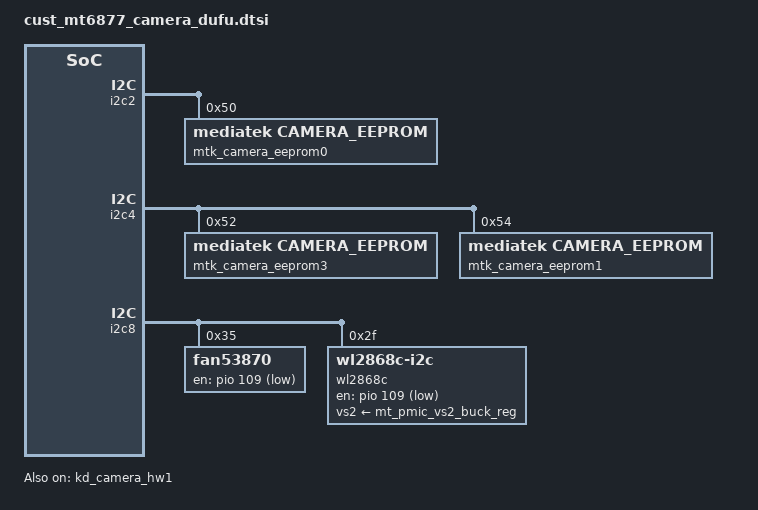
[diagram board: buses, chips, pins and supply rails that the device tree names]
/*
 * Copyright (c) 2019 MediaTek Inc.
 *
 * This program is free software; you can redistribute it and/or modify
 * it under the terms of the GNU General Public License version 2 as
 * published by the Free Software Foundation.
 *
 * This program is distributed in the hope that it will be useful,
 * but WITHOUT ANY WARRANTY; without even the implied warranty of
 * MERCHANTABILITY or FITNESS FOR A PARTICULAR PURPOSE.  See the
 * GNU General Public License for more details.
 */
/* CAMERA GPIO standardization */
&pio {
	camera_pins_cam0_rst_0: cam0@0 {
		pins_cmd_dat {
			pinmux = <PINMUX_GPIO157__FUNC_GPIO157>;
			slew-rate = <1>;
			output-low;
		};
	};
	camera_pins_cam0_rst_1: cam0@1 {
		pins_cmd_dat {
			pinmux = <PINMUX_GPIO157__FUNC_GPIO157>;
			slew-rate = <1>;
			output-high;
		};
	};

	camera_pins_cam1_rst_0: cam1@0 {
		pins_cmd_dat {
			pinmux = <PINMUX_GPIO155__FUNC_GPIO155>;
			slew-rate = <1>;
			output-low;
		};
	};
	camera_pins_cam1_rst_1: cam1@1 {
		pins_cmd_dat {
			pinmux = <PINMUX_GPIO155__FUNC_GPIO155>;
			slew-rate = <1>;
			output-high;
		};
	};

	camera_pins_cam2_rst_0: cam2@0 {
		pins_cmd_dat {
			pinmux = <PINMUX_GPIO159__FUNC_GPIO159>;
			slew-rate = <1>;
			output-low;
		};
	};
	camera_pins_cam2_rst_1: cam2@1 {
		pins_cmd_dat {
			pinmux = <PINMUX_GPIO159__FUNC_GPIO159>;
			slew-rate = <1>;
			output-high;
		};
	};

	camera_pins_cam3_rst_0: cam3@0 {
		pins_cmd_dat {
			pinmux = <PINMUX_GPIO161__FUNC_GPIO161>;
			slew-rate = <1>;
			output-low;
		};
	};
	camera_pins_cam3_rst_1: cam3@1 {
		pins_cmd_dat {
			pinmux = <PINMUX_GPIO161__FUNC_GPIO161>;
			slew-rate = <1>;
			output-high;
		};
	};

	/*camera_pins_cam0_vcama_0: cam0@vcam0 {
		pins_cmd_dat {
			pinmux = <PINMUX_GPIO154__FUNC_GPIO154>;
			slew-rate = <1>;
			output-low;
		};
	};
	camera_pins_cam0_vcama_1: cam0@vcam1 {
		pins_cmd_dat {
			pinmux = <PINMUX_GPIO154__FUNC_GPIO154>;
			slew-rate = <1>;
			output-high;
		};
	};*/

	camera_pins_cam0_vcama1_0: cam0@vcam0 {
		pins_cmd_dat {
			pinmux = <PINMUX_GPIO154__FUNC_GPIO154>;
			slew-rate = <1>;
			output-low;
		};
	};
	camera_pins_cam0_vcama1_1: cam0@vcam1 {
		pins_cmd_dat {
			pinmux = <PINMUX_GPIO154__FUNC_GPIO154>;
			slew-rate = <1>;
			output-high;
		};
	};
	
	camera_pins_cam0_mclk_off: camera_pins_cam0_mclk_off {
		pins_cmd_dat {
			pinmux = <PINMUX_GPIO150__FUNC_GPIO150>;
			drive-strength = <1>;
		};
	};
	camera_pins_cam0_mclk_2ma: camera_pins_cam0_mclk_2ma {
		pins_cmd_dat {
			pinmux = <PINMUX_GPIO150__FUNC_CMMCLK1>;
			drive-strength = <0>;
		};
	};
	camera_pins_cam0_mclk_4ma: camera_pins_cam0_mclk_4ma {
		pins_cmd_dat {
			pinmux = <PINMUX_GPIO150__FUNC_CMMCLK1>;
			drive-strength = <1>;
		};
	};
	camera_pins_cam0_mclk_6ma: camera_pins_cam0_mclk_6ma {
		pins_cmd_dat {
			pinmux = <PINMUX_GPIO150__FUNC_CMMCLK1>;
			drive-strength = <2>;
		};
	};
	camera_pins_cam0_mclk_8ma: camera_pins_cam0_mclk_8ma {
		pins_cmd_dat {
			pinmux = <PINMUX_GPIO150__FUNC_CMMCLK1>;
			drive-strength = <3>;
		};
	};
	camera_pins_cam1_mclk_off: camera_pins_cam1_mclk_off {
		pins_cmd_dat {
			pinmux = <PINMUX_GPIO153__FUNC_GPIO153>;
			drive-strength = <1>;
		};
	};
	camera_pins_cam1_mclk_2ma: camera_pins_cam1_mclk_2ma {
		pins_cmd_dat {
			pinmux = <PINMUX_GPIO153__FUNC_CMMCLK4>;
			drive-strength = <0>;
		};
	};
	camera_pins_cam1_mclk_4ma: camera_pins_cam1_mclk_4ma {
		pins_cmd_dat {
			pinmux = <PINMUX_GPIO153__FUNC_CMMCLK4>;
			drive-strength = <1>;
		};
	};
	camera_pins_cam1_mclk_6ma: camera_pins_cam1_mclk_6ma {
		pins_cmd_dat {
			pinmux = <PINMUX_GPIO153__FUNC_CMMCLK4>;
			drive-strength = <2>;
		};
	};
	camera_pins_cam1_mclk_8ma: camera_pins_cam1_mclk_8ma {
		pins_cmd_dat {
			pinmux = <PINMUX_GPIO153__FUNC_CMMCLK4>;
			drive-strength = <3>;
		};
	};
	camera_pins_cam2_mclk_off: camera_pins_cam2_mclk_off {
		pins_cmd_dat {
			pinmux = <PINMUX_GPIO149__FUNC_GPIO149>;
			drive-strength = <1>;
		};
	};
	camera_pins_cam2_mclk_2ma: camera_pins_cam2_mclk_2ma {
		pins_cmd_dat {
			pinmux = <PINMUX_GPIO149__FUNC_CMMCLK0>;
			drive-strength = <0>;
		};
	};
	camera_pins_cam2_mclk_4ma: camera_pins_cam2_mclk_4ma {
		pins_cmd_dat {
			pinmux = <PINMUX_GPIO149__FUNC_CMMCLK0>;
			drive-strength = <1>;
		};
	};
	camera_pins_cam2_mclk_6ma: camera_pins_cam2_mclk_6ma {
		pins_cmd_dat {
			pinmux = <PINMUX_GPIO149__FUNC_CMMCLK0>;
			drive-strength = <2>;
		};
	};
	camera_pins_cam2_mclk_8ma: camera_pins_cam2_mclk_8ma {
		pins_cmd_dat {
			pinmux = <PINMUX_GPIO149__FUNC_CMMCLK0>;
			drive-strength = <3>;
		};
	};
	camera_pins_cam3_mclk_off: camera_pins_cam3_mclk_off {
		pins_cmd_dat {
			pinmux = <PINMUX_GPIO151__FUNC_GPIO151>;
			drive-strength = <1>;
		};
	};
	camera_pins_cam3_mclk_2ma: camera_pins_cam3_mclk_2ma {
		pins_cmd_dat {
			pinmux = <PINMUX_GPIO151__FUNC_CMMCLK2>;
			drive-strength = <0>;
		};
	};
	camera_pins_cam3_mclk_4ma: camera_pins_cam3_mclk_4ma {
		pins_cmd_dat {
			pinmux = <PINMUX_GPIO151__FUNC_CMMCLK2>;
			drive-strength = <1>;
		};
	};
	camera_pins_cam3_mclk_6ma: camera_pins_cam3_mclk_6ma {
		pins_cmd_dat {
			pinmux = <PINMUX_GPIO151__FUNC_CMMCLK2>;
			drive-strength = <2>;
		};
	};
	camera_pins_cam3_mclk_8ma: camera_pins_cam3_mclk_8ma {
		pins_cmd_dat {
			pinmux = <PINMUX_GPIO151__FUNC_CMMCLK2>;
			drive-strength = <3>;
		};
	};
	camera_pins_default: camdefault {
	};
};
&kd_camera_hw1 {
	pinctrl-names = "default",
			"cam0_rst0", "cam0_rst1",
			"cam1_rst0", "cam1_rst1",
			"cam2_rst0", "cam2_rst1",
			"cam3_rst0", "cam3_rst1",
			//"cam0_ldo_vcama_0", "cam0_ldo_vcama_1",
			"cam0_ldo_vcama1_0", "cam0_ldo_vcama1_1",
			"cam0_mclk_off",
			"cam0_mclk_2mA", "cam0_mclk_4mA",
			"cam0_mclk_6mA", "cam0_mclk_8mA",
			"cam1_mclk_off",
			"cam1_mclk_2mA", "cam1_mclk_4mA",
			"cam1_mclk_6mA", "cam1_mclk_8mA",
			"cam2_mclk_off",
			"cam2_mclk_2mA", "cam2_mclk_4mA",
			"cam2_mclk_6mA", "cam2_mclk_8mA",
			"cam3_mclk_off",
			"cam3_mclk_2mA", "cam3_mclk_4mA",
			"cam3_mclk_6mA", "cam3_mclk_8mA";

	pinctrl-0 = <&camera_pins_default>;
	pinctrl-1 = <&camera_pins_cam0_rst_0>;
	pinctrl-2 = <&camera_pins_cam0_rst_1>;
	pinctrl-3 = <&camera_pins_cam1_rst_0>;
	pinctrl-4 = <&camera_pins_cam1_rst_1>;
	pinctrl-5 = <&camera_pins_cam2_rst_0>;
	pinctrl-6 = <&camera_pins_cam2_rst_1>;
	pinctrl-7 = <&camera_pins_cam3_rst_0>;
	pinctrl-8 = <&camera_pins_cam3_rst_1>;
	pinctrl-9 = <&camera_pins_cam0_vcama1_0>;
	pinctrl-10 = <&camera_pins_cam0_vcama1_1>;
	pinctrl-11 = <&camera_pins_cam0_mclk_off>;
	pinctrl-12 = <&camera_pins_cam0_mclk_2ma>;
	pinctrl-13 = <&camera_pins_cam0_mclk_4ma>;
	pinctrl-14 = <&camera_pins_cam0_mclk_6ma>;
	pinctrl-15 = <&camera_pins_cam0_mclk_8ma>;
	pinctrl-16 = <&camera_pins_cam1_mclk_off>;
	pinctrl-17 = <&camera_pins_cam1_mclk_2ma>;
	pinctrl-18 = <&camera_pins_cam1_mclk_4ma>;
	pinctrl-19 = <&camera_pins_cam1_mclk_6ma>;
	pinctrl-20 = <&camera_pins_cam1_mclk_8ma>;
	pinctrl-21 = <&camera_pins_cam2_mclk_off>;
	pinctrl-22 = <&camera_pins_cam2_mclk_2ma>;
	pinctrl-23 = <&camera_pins_cam2_mclk_4ma>;
	pinctrl-24 = <&camera_pins_cam2_mclk_6ma>;
	pinctrl-25 = <&camera_pins_cam2_mclk_8ma>;
	pinctrl-26 = <&camera_pins_cam3_mclk_off>;
	pinctrl-27 = <&camera_pins_cam3_mclk_2ma>;
	pinctrl-28 = <&camera_pins_cam3_mclk_4ma>;
	pinctrl-29 = <&camera_pins_cam3_mclk_6ma>;
	pinctrl-30 = <&camera_pins_cam3_mclk_8ma>;
	
	cam0_vcamio-supply = <&mt_pmic_vcamio_ldo_reg>;
	cam1_vcamio-supply = <&mt_pmic_vcamio_ldo_reg>;
	cam2_vcamio-supply = <&mt_pmic_vcamio_ldo_reg>;
	cam3_vcamio-supply = <&mt_pmic_vcamio_ldo_reg>;

	cam0_enable_sensor = "imx581_mipi_raw";
	cam1_enable_sensor = "imx471_mipi_raw";
	cam2_enable_sensor = "gc02m1b_mipi_mono";
	cam3_enable_sensor = "gc02m1_mipi_raw";
	
	status = "okay";
};
/* CAMERA GPIO end */

 /*CAMERA EEPROM*/ 
&i2c2 {
	mtk_camera_eeprom0:camera_eeprom0@50 {
		compatible = "mediatek,camera_eeprom";
		reg = <0x50>;
		status = "okay";
	};
};
&i2c4 {
	mtk_camera_eeprom3:camera_eeprom3@52 {
		compatible = "mediatek,camera_eeprom";
		reg = <0x52>;
		status = "okay";
	};
	mtk_camera_eeprom1:camera_eeprom1@54 {
		compatible = "mediatek,camera_eeprom";
		reg = <0x54>;
		status = "okay";
	};
};
&i2c8 {
        fan53870@35 {
                compatible = "fan53870";
                reg = <0x35>;
                ldo1_min_vol = <800000>;  /*uV*/
                ldo1_max_vol = <1504000>;
                ldo1_step_vol = <8000>;
                en-gpios = <&pio 109 1>;
        };
        wl2868c@2f {
                compatible = "wl2868c-i2c";
                vs2-supply = <&mt_pmic_vs2_buck_reg>;
                reg = <0x2f>;
                id_reg = <0x00>;
                id_val = <0x82>;
                vin1_vol = <800000>;
                vin2_vol = <1504000>;
                en-gpios = <&pio 109 1>;
        };
};
/* CAMERA EEPROM end */
